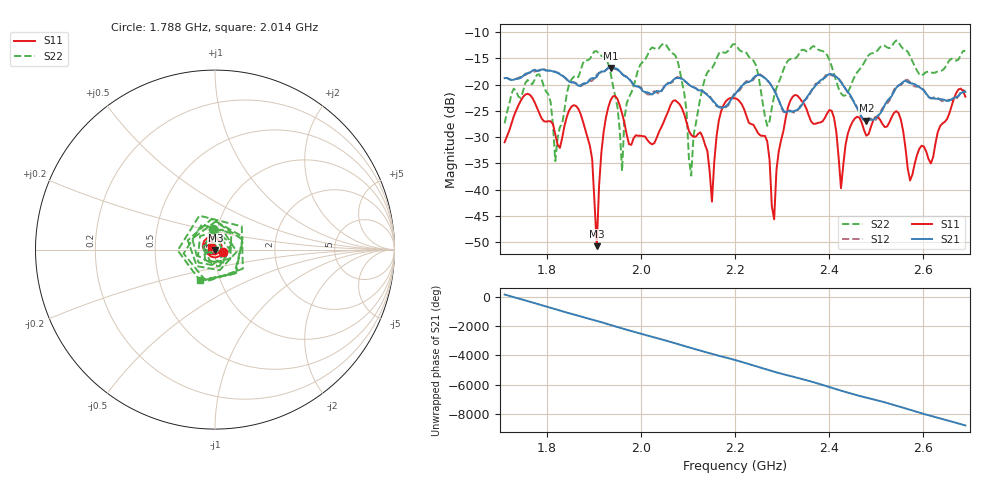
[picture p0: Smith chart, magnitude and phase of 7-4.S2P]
!Agilent Technologies,E5061B,MY49305579,A.02.22
!Date: Thu Aug 24 16:25:20 2017
!Data & Calibration Information:
!Freq	S11:SOLT2(ON)	S21:SOLT2(ON)	S12:SOLT2(ON)	S22:SOLT2(ON)
# Hz S dB R 50
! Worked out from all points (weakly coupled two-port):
!   201 points, 1.71 GHz to 2.69 GHz, reference 50 ohm
!   highest |S21| = -16.84 dB at 1.935 GHz (marker M1); lowest = -26.9 dB at 2.479 GHz (marker M2)
!   lowest |S11| = -50.8 dB at 1.906 GHz (marker M3), VSWR 1.01, Z = 50.2 - j0.216 ohm
!   |S11| at or under -10 dB: start of sweep to end of sweep
!   |S22| runs from -37.3 to -11.6 dB; largest |S21 - S12| = 0.0071
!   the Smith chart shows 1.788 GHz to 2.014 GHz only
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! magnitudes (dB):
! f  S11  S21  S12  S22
! 1.71 GHz  -31.0  -18.8  -18.7  -27.4
! 1.784 GHz  -25.4  -17.4  -17.2  -18.0
! 1.818 GHz  -29.5  -17.6  -17.5  -34.6
! 1.877 GHz  -27.0  -19.8  -20.0  -15.9
! 1.906 GHz  -50.8  -18.5  -18.1  -13.6
! 1.935 GHz  -23.0  -16.8  -16.6  -17.8
! 1.96 GHz  -25.5  -17.9  -18.0  -36.5
! 2.038 GHz  -29.0  -21.3  -21.7  -13.1
! 2.078 GHz  -23.3  -18.7  -18.5  -15.3
! 2.107 GHz  -29.6  -20.3  -20.4  -37.3
! 2.151 GHz  -42.3  -22.9  -22.8  -16.9
! 2.2 GHz  -22.6  -21.8  -21.6  -12.3
! 2.269 GHz  -30.8  -19.1  -19.2  -27.9
! 2.283 GHz  -45.7  -21.1  -21.0  -22.1
! 2.318 GHz  -23.1  -25.1  -24.9  -15.1
! 2.367 GHz  -27.5  -20.7  -20.4  -12.6
! 2.406 GHz  -25.0  -18.0  -18.2  -16.6
! 2.425 GHz  -39.7  -19.5  -19.4  -21.7
! 2.479 GHz  -29.7  -26.9  -26.7  -15.1
! 2.528 GHz  -27.2  -22.6  -23.0  -13.0
! 2.572 GHz  -38.3  -19.7  -19.5  -14.6
! 2.69 GHz  -22.3  -21.4  -21.2  -13.6
